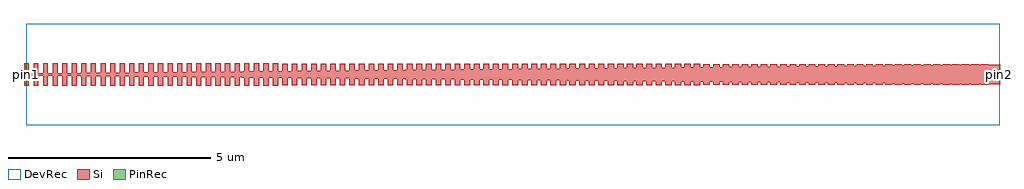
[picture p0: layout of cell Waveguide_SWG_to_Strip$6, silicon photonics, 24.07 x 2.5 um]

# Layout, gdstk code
import gdstk
lib = gdstk.Library(unit=1e-6, precision=1e-09)
def R(c, l, rs):  # rectangles x0, y0, x1, y1
    for r in rs: c.add(gdstk.rectangle(r[:2], r[2:], *l))
def P(c, l, *ps):  # polygons
    for p in ps: c.add(gdstk.Polygon(p, *l))
Si = (1, 0)
PinRec = (1, 10)
DevRec = (68, 0)

waveguide_swg_to_strip_6 = lib.new_cell('Waveguide_SWG_to_Strip$6')
R(waveguide_swg_to_strip_6, Si, [(-0.059,-0.28,0.059,0.28), (0.177,-0.279,0.296,0.279), (0.413,-0.279,0.532,0.279), (0.649,-0.279,0.769,0.279), (0.885,-0.278,1.005,0.278), (1.121,-0.278,1.242,0.278), (1.357,-0.278,1.479,0.278), (1.593,-0.277,1.715,0.277), (1.829,-0.277,1.952,0.277), (2.065,-0.277,2.188,0.277), (2.301,-0.277,2.425,0.277), (2.537,-0.276,2.661,0.276), (2.773,-0.276,2.898,0.276), (3.009,-0.276,3.135,0.276), (3.245,-0.275,3.371,0.275), (3.481,-0.275,3.608,0.275), (3.717,-0.275,3.844,0.275), (3.953,-0.274,4.081,0.274), (4.189,-0.274,4.318,0.274), (4.425,-0.274,4.554,0.274), (4.661,-0.274,4.791,0.274), (4.897,-0.273,5.027,0.273), (5.133,-0.273,5.264,0.273), (5.369,-0.273,5.5,0.273), (5.605,-0.272,5.737,0.272), (5.841,-0.272,5.974,0.272), (6.077,-0.272,6.21,0.272), (6.313,-0.271,6.447,0.271), (6.549,-0.271,6.683,0.271), (6.785,-0.271,6.92,0.271), (7.021,-0.271,7.157,0.271), (7.257,-0.27,7.393,0.27), (7.493,-0.27,7.63,0.27), (7.729,-0.27,7.866,0.27), (7.965,-0.269,8.103,0.269), (8.201,-0.269,8.339,0.269), (8.437,-0.269,8.576,0.269), (8.673,-0.269,8.813,0.269), (8.909,-0.268,9.049,0.268), (9.145,-0.268,9.286,0.268), (9.381,-0.268,9.522,0.268), (9.617,-0.267,9.759,0.267), (9.853,-0.267,9.996,0.267), (10.089,-0.267,10.232,0.267), (10.325,-0.266,10.469,0.266), (10.561,-0.266,10.705,0.266), (10.797,-0.266,10.942,0.266), (11.033,-0.266,11.178,0.266), (11.269,-0.265,11.415,0.265), (11.505,-0.265,11.652,0.265), (11.741,-0.265,11.888,0.265), (11.977,-0.264,12.125,0.264), (12.213,-0.264,12.361,0.264), (12.449,-0.264,12.598,0.264), (12.685,-0.263,12.835,0.263), (12.921,-0.263,13.071,0.263), (13.157,-0.263,13.308,0.263), (13.393,-0.263,13.544,0.263), (13.629,-0.262,13.781,0.262), (13.865,-0.262,14.017,0.262), (14.101,-0.262,14.254,0.262), (14.337,-0.261,14.491,0.261), (14.573,-0.261,14.727,0.261), (14.809,-0.261,14.964,0.261), (15.045,-0.26,15.2,0.26), (15.281,-0.26,15.437,0.26), (15.517,-0.26,15.674,0.26), (15.753,-0.26,15.91,0.26), (15.989,-0.259,16.147,0.259), (16.225,-0.259,16.383,0.259), (16.461,-0.259,16.62,0.259), (16.697,-0.258,16.856,0.258), (16.933,-0.258,17.093,0.258), (17.169,-0.258,17.33,0.258), (17.405,-0.258,17.566,0.258), (17.641,-0.257,17.803,0.257), (17.877,-0.257,18.039,0.257), (18.113,-0.257,18.276,0.257), (18.349,-0.256,18.513,0.256), (18.585,-0.256,18.749,0.256), (18.821,-0.256,18.986,0.256), (19.057,-0.255,19.222,0.255), (19.293,-0.255,19.459,0.255), (19.529,-0.255,19.695,0.255), (19.765,-0.255,19.932,0.255), (20.001,-0.254,20.169,0.254), (20.237,-0.254,20.405,0.254), (20.473,-0.254,20.642,0.254), (20.709,-0.253,20.878,0.253), (20.945,-0.253,21.115,0.253), (21.181,-0.253,21.352,0.253), (21.417,-0.252,21.588,0.252), (21.653,-0.252,21.825,0.252), (21.889,-0.252,22.061,0.252), (22.125,-0.252,22.298,0.252), (22.361,-0.251,22.534,0.251), (22.597,-0.251,22.771,0.251), (22.833,-0.251,23.008,0.251), (23.069,-0.25,23.244,0.25), (23.305,-0.25,23.481,0.25), (23.541,-0.25,23.717,0.25)])
P(waveguide_swg_to_strip_6, Si, [(24,-0.25),(0,-0.03),(0,0.03),(24,0.25)])
R(waveguide_swg_to_strip_6, DevRec, [(0,-1.25,24,1.25)])
waveguide_swg_to_strip_6.add(gdstk.FlexPath([(0.01,0),(-0.01,0)], 0.56, ends="flush", simple_path=True, layer=1, datatype=10))  # PinRec
waveguide_swg_to_strip_6.add(gdstk.FlexPath([(23.99,0),(24.01,0)], 0.5, ends="flush", simple_path=True, layer=1, datatype=10))  # PinRec
waveguide_swg_to_strip_6.add(gdstk.Label('pin1', (0,0), layer=1, texttype=10))
waveguide_swg_to_strip_6.add(gdstk.Label('pin2', (24,0), layer=1, texttype=10))

lib.write_gds('Waveguide_SWG_to_Strip_6.gds')
